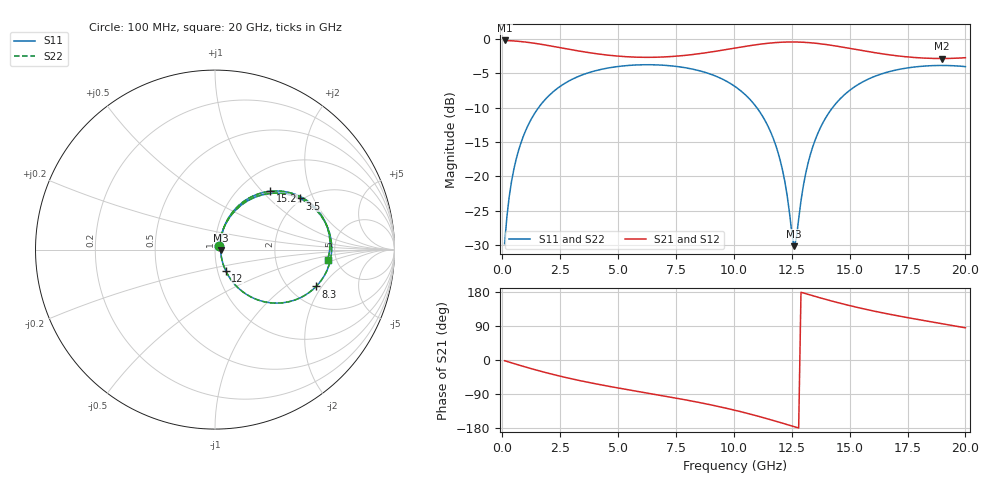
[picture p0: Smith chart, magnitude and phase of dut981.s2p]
! Touchstone file exported from HFSS 2026.1.0
!  File:  C:/ffzhzh/LocalFiles/Ansys_Project_Files/temp_train_TSV_RDL_981_1783286926_38704.aedt
!  Generated:  05:41:30 AM Jul  6, 2026
!  Design:  TSV_RDL
!  Project:  temp_train_TSV_RDL_981_1783286926_38704
! Variables:
!  h_bsmrdl = 5.1um
!  h_ox = 20um
!  h_rdl = 5um
!  h_sub = 69.05um
!  h_tmrdl = 3.88um
!  h_tsv = 69.05um
!  h_via = 3um
!  l_bsmrdl = 569.72um
!  l_sub = 4843.3um
!  l_tmrdl = 657.57um
!  m_sub = 200um
!  pitch = 58.78um
!  r_tsv = 8.15um
!  s_tmrdl = 10um
!  w_bsmrdl = 19.39um
!  w_sub = 500um
!  w_tmrdl = 15.23um
!  x_tsv_center1 = 665.185um
!  x_tsv_center2 = 1254.295um
!  x_tsv_center3 = 1927.095um
!  x_tsv_center4 = 2516.205um
!  x_tsv_center5 = 3189.005um
!  x_tsv_center6 = 3778.115um
# GHz S MA R 50.000000
! Terminal data exported
! Port[1] = TM_RDL1_1_T1
! Port[2] = TM_RDL5_1_T1
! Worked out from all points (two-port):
!   200 points, 100 MHz to 20 GHz, reference 50 ohm
!   highest |S21| = -0.20 dB at 100 MHz (marker M1); lowest = -2.8 dB at 19 GHz (marker M2)
!   |S21| within 3 dB of the highest: start of sweep to end of sweep
!   lowest |S11| = -30.2 dB at 12.6 GHz (marker M3), VSWR 1.06, Z = 53.2 - j0.228 ohm
!   |S11| at or under -10 dB: start of sweep to 1.566 GHz; 10.99 GHz to 14.26 GHz (3.271 GHz wide, 25.9 % of centre)
!   |S22| runs from -30.2 to -3.7 dB; largest |S21 - S12| = 1.4e-14
!   S11 on the Smith chart (normalised r, x): 100 MHz: 1.05, +0.05; 3.5 GHz: 1.93, +1.59; 8.3 GHz: 2.75, -1.76; 12 GHz: 1.09, -0.26; 15.2 GHz: 1.37, +1.11; 20 GHz: 4.24, -0.80
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0.1  0.03226 43.1  0.9769 -1.9  0.9769 -1.9  0.03226 43.1
! Gamma 0 0 0 0
! Port Impedance 50 0 50 0
0.3  0.07126 64.6  0.9738 -5.7  0.9738 -5.7  0.07126 64.6
0.5  0.1127 67.9  0.9691 -9.4  0.9691 -9.4  0.1127 67.9
1.1  0.2327 63.4  0.9468 -20.2  0.9468 -20.2  0.2327 63.4
2.1  0.3995 49.5  0.8904 -36.7  0.8904 -36.7  0.3995 49.5
3.5  0.5517 31.1  0.8082 -56.3  0.8082 -56.3  0.5517 31.1
5.1  0.6341 13.2  0.7488 -74.9  0.7488 -74.9  0.6341 13.2
6.8  0.647 -4.1  0.7386 -93.0  0.7386 -93.0  0.6469 -4.1
8.3  0.5996 -20.0  0.7743 -109.7  0.7743 -109.7  0.5996 -20.0
10.1  0.4452 -42.0  0.8625 -133.4  0.8625 -133.4  0.4452 -42.0
11.2  0.281 -56.7  0.9204 -150.9  0.9204 -150.9  0.281 -56.7
12  0.131 -63.0  0.9474 -164.9  0.9474 -164.9  0.131 -63.1
12.3  0.07281 -56.9  0.9518 -170.3  0.9518 -170.3  0.07278 -57.0
12.6  0.03095 -4.0  0.9525 -175.8  0.9525 -175.8  0.0309 -4.0
12.7  0.03522 30.2  0.952 -177.6  0.952 -177.6  0.03517 30.3
13  0.08498 64.5  0.9478 176.9  0.9478 176.9  0.08496 64.5
13.4  0.1624 67.8  0.937 169.7  0.937 169.7  0.1624 67.8
14.1  0.2894 60.9  0.9065 157.7  0.9065 157.7  0.2894 61.0
15.2  0.4472 46.6  0.8442 140.7  0.8442 140.7  0.4472 46.6
16.7  0.5783 28.6  0.7681 121.0  0.7681 121.0  0.5782 28.6
19  0.6422 4.8  0.7215 95.7  0.7215 95.7  0.6422 4.9
20  0.6297 -5.2  0.7313 85.0  0.7313 85.0  0.6296 -5.1
